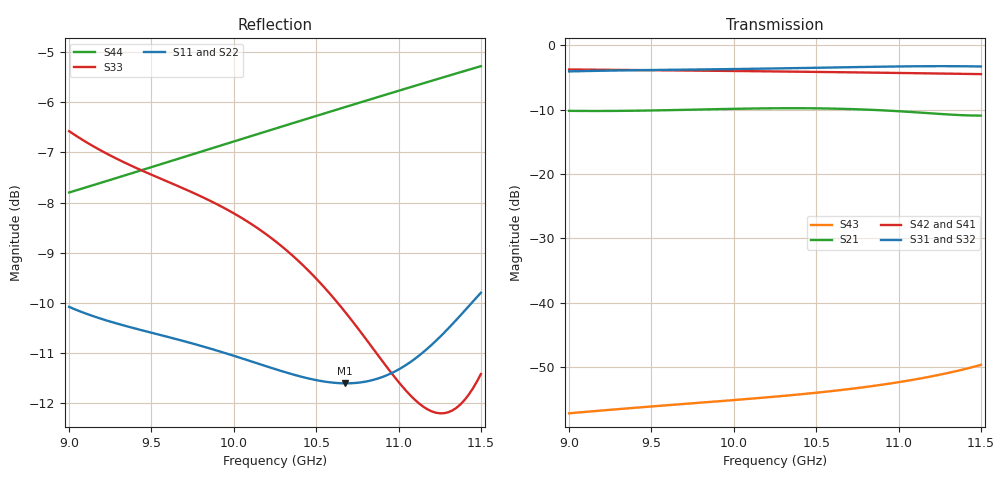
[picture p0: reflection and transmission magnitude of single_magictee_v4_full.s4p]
! Generated from PyAEDT SolutionData; AEDT ExportNetworkData workaround
# GHz S MA R 50
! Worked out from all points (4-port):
!   101 points, 9 GHz to 11.5 GHz, reference 50 ohm
!   strongest paths, dB at 9 GHz, 9.625 GHz, 10.25 GHz, 10.88 GHz, 11.5 GHz:
!     S31: -4.1, -3.8, -3.6, -3.4, -3.3
!     S32: -4.1, -3.8, -3.6, -3.4, -3.4
!     S42: -3.8, -3.9, -4.1, -4.3, -4.5
!     S41: -3.8, -4.0, -4.1, -4.3, -4.6
!     S21: -10.2, -10.1, -9.8, -10.1, -10.9
!     S43: -57.1, -55.8, -54.6, -52.8, -49.6
!   lowest |S11| = -11.6 dB at 10.68 GHz (marker M1), VSWR 1.71, Z = 29.3 + j2.71 ohm
!   |S11| at or under -10 dB: start of sweep to 11.44 GHz
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9  0.3134 -11.5  0.309 -93.3  0.6251 -26.5  0.6447 45.5
   0.309 -93.3  0.3109 -11.2  0.624 -26.6  0.6469 -134.7
   0.6251 -26.5  0.624 -26.6  0.4689 179.0  0.00139 -114.4
   0.6447 45.5  0.6469 -134.7  0.00139 -114.4  0.4074 -126.5
9.4  0.2983 -58.0  0.3098 -147.2  0.6384 -97.2  0.6383 0.3
     0.3098 -147.2  0.2956 -57.7  0.6374 -97.3  0.6406 -179.9
     0.6384 -97.2  0.6374 -97.3  0.4315 89.2  0.001534 171.2
     0.6383 0.3  0.6406 -179.9  0.001534 171.2  0.4268 -168.3
9.875  0.2843 -110.8  0.318 152.2  0.6492 -177.7  0.6298 -51.4
       0.318 152.2  0.2814 -110.4  0.648 -177.8  0.6322 128.4
       0.6492 -177.7  0.648 -177.8  0.3983 -12.4  0.001711 85.4
       0.6298 -51.4  0.6322 128.4  0.001711 85.4  0.4513 143.2
10.3  0.2702 -154.6  0.3237 99.5  0.6606 112.2  0.6212 -96.3
      0.3237 99.5  0.2672 -154.3  0.6593 112.1  0.6238 83.5
      0.6606 112.2  0.6593 112.1  0.3591 -101.2  0.001897 10.7
      0.6212 -96.3  0.6238 83.5  0.001897 10.7  0.4743 100.7
10.675  0.2631 170.6  0.3199 54.3  0.673 50.7  0.6128 -135.1
        0.3199 54.3  0.26 171.0  0.6716 50.6  0.6156 44.7
        0.673 50.7  0.6716 50.6  0.3099 178.0  0.002125 -54.0
        0.6128 -135.1  0.6156 44.7  0.002125 -54.0  0.4955 63.5
11.075  0.2764 136.2  0.3028 8.7  0.6845 -15.8  0.6028 -175.9
        0.3028 8.7  0.2734 136.6  0.6827 -15.9  0.6062 3.8
        0.6845 -15.8  0.6827 -15.9  0.2556 81.4  0.002514 -123.0
        0.6028 -175.9  0.6062 3.8  0.002514 -123.0  0.5188 24.1
11.5  0.3237 95.3  0.284 -32.3  0.6824 -89.5  0.5907 141.2
      0.284 -32.3  0.3198 95.8  0.6798 -89.6  0.5957 -39.1
      0.6824 -89.5  0.6798 -89.6  0.2687 -37.9  0.003303 161.4
      0.5907 141.2  0.5957 -39.1  0.003303 161.4  0.5442 -17.8
